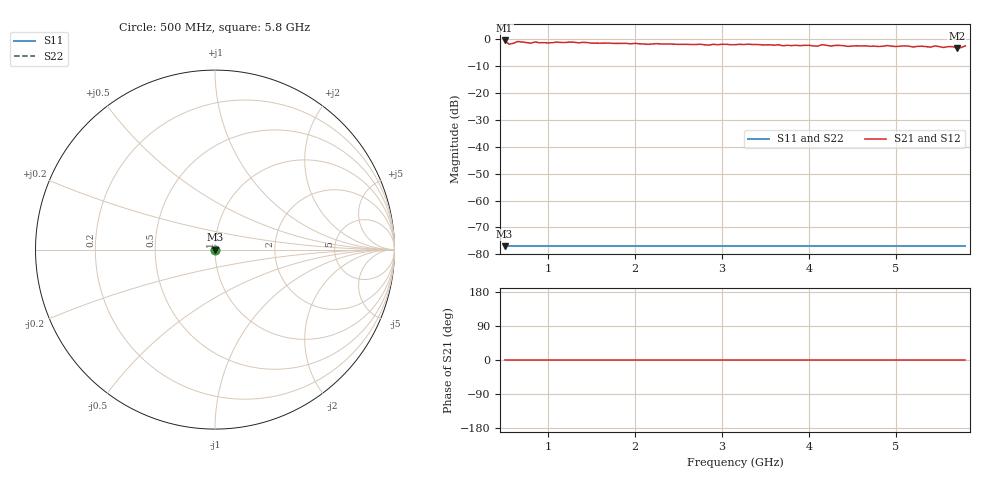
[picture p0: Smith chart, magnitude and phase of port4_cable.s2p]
# GHZ S RI R 50
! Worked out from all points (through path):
!   107 points, 500 MHz to 5.8 GHz, reference 50 ohm
!   highest |S21| = -0.38 dB at 500 MHz (marker M1); lowest = -3.2 dB at 5.7 GHz (marker M2)
!   lowest |S11| = -77.0 dB at 500 MHz (marker M3), VSWR 1.00, Z = 50 + j0.01 ohm
!   |S11| at or under -10 dB: start of sweep to end of sweep
!   |S22| runs from -77.0 to -77.0 dB; largest |S21 - S12| = 0
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0.5  0.0001 0.0001  0.9572 0  0.9572 0  0.0001 0.0001
0.55  0.0001 0.0001  0.815 0  0.815 0  0.0001 0.0001
0.65  0.0001 0.0001  0.9145 0  0.9145 0  0.0001 0.0001
0.8  0.0001 0.0001  0.8519 0  0.8519 0  0.0001 0.0001
0.85  0.0001 0.0001  0.8969 0  0.8969 0  0.0001 0.0001
1  0.0001 0.0001  0.8629 0  0.8629 0  0.0001 0.0001
1.4  0.0001 0.0001  0.8834 0  0.8834 0  0.0001 0.0001
1.5  0.0001 0.0001  0.8527 0  0.8527 0  0.0001 0.0001
2.3  0.0001 0.0001  0.8215 0  0.8215 0  0.0001 0.0001
3.15  0.0001 0.0001  0.7974 0  0.7974 0  0.0001 0.0001
3.3  0.0001 0.0001  0.8155 0  0.8155 0  0.0001 0.0001
4.05  0.0001 0.0001  0.7567 0  0.7567 0  0.0001 0.0001
4.1  0.0001 0.0001  0.7499 0  0.7499 0  0.0001 0.0001
4.15  0.0001 0.0001  0.7987 0  0.7987 0  0.0001 0.0001
4.25  0.0001 0.0001  0.7516 0  0.7516 0  0.0001 0.0001
4.95  0.0001 0.0001  0.7509 0  0.7509 0  0.0001 0.0001
5.4  0.0001 0.0001  0.7183 0  0.7183 0  0.0001 0.0001
5.45  0.0001 0.0001  0.7576 0  0.7576 0  0.0001 0.0001
5.55  0.0001 0.0001  0.7084 0  0.7084 0  0.0001 0.0001
5.65  0.0001 0.0001  0.7352 0  0.7352 0  0.0001 0.0001
5.7  0.0001 0.0001  0.6924 0  0.6924 0  0.0001 0.0001
5.8  0.0001 0.0001  0.7592 0  0.7592 0  0.0001 0.0001
